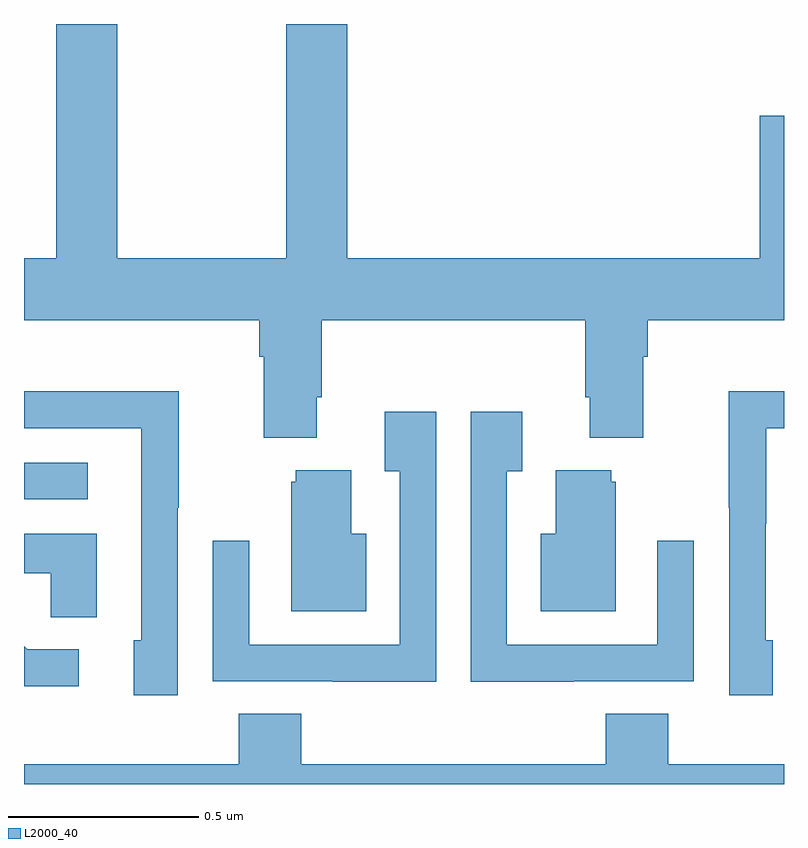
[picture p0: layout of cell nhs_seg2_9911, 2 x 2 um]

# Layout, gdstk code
import gdstk
lib = gdstk.Library(unit=1e-6, precision=1e-09)
def R(c, l, rs):  # rectangles x0, y0, x1, y1
    for r in rs: c.add(gdstk.rectangle(r[:2], r[2:], *l))
def P(c, l, *ps):  # polygons
    for p in ps: c.add(gdstk.Polygon(p, *l))
L2000_40 = (2000, 40)

nhs_seg2_9911 = lib.new_cell('nhs_seg2_9911')
R(nhs_seg2_9911, L2000_40, [(235,596.55,235.168,596.646)])
P(nhs_seg2_9911, L2000_40, [(235.771,596.818),(235.784,596.818),(235.784,597.02),(236.477,597.02),(236.477,596.818),(236.489,596.818),(236.489,596.711),(236.629,596.711),(236.629,596.924),(236.642,596.924),(236.642,597.02),(237,597.02),(237,597.559),(236.936,597.559),(236.936,597.184),(235.85,597.184),(235.85,597.8),(235.69,597.8),(235.69,597.184),(235.245,597.184),(235.245,597.8),(235.085,597.8),(235.085,597.184),(235,597.184),(235,597.02),(235.619,597.02),(235.619,596.924),(235.631,596.924),(235.631,596.711),(235.771,596.711)],
  [(236.971,596.178),(236.952,596.178),(236.952,596.485),(236.953,596.485),(236.953,596.736),(237,596.736),(237,596.834),(236.854,596.834),(236.854,596.527),(236.856,596.527),(236.856,596.034),(236.971,596.034)],
  [(235.404,596.527),(235.407,596.527),(235.407,596.834),(235,596.834),(235,596.736),(235.308,596.736),(235.308,596.178),(235.289,596.178),(235.289,596.034),(235.404,596.034)],
  [(236.447,596.07),(236.763,596.07),(236.763,596.44),(236.667,596.44),(236.667,596.166),(236.271,596.166),(236.271,596.623),(236.311,596.623),(236.311,596.779),(236.175,596.779),(236.175,596.069),(236.447,596.069)],
  [(236.085,596.779),(235.949,596.779),(235.949,596.623),(235.989,596.623),(235.989,596.166),(235.593,596.166),(235.593,596.44),(235.497,596.44),(235.497,596.07),(235.813,596.07),(235.813,596.069),(236.085,596.069)],
  [(236.557,596.595),(236.546,596.595),(236.546,596.626),(236.399,596.626),(236.399,596.458),(236.36,596.458),(236.36,596.255),(236.557,596.255)],
  [(235.9,596.458),(235.861,596.458),(235.861,596.626),(235.715,596.626),(235.715,596.595),(235.703,596.595),(235.703,596.255),(235.9,596.255)],
  [(235.192,596.458),(235,596.458),(235,596.354),(235.071,596.354),(235.071,596.239),(235.192,596.239)],
  [(235.144,596.154),(235.009,596.154),(235,596.163),(235,596.057),(235.144,596.057)],
  [(237,595.852),(236.696,595.852),(236.696,595.985),(236.531,595.985),(236.531,595.852),(235.73,595.852),(235.73,595.985),(235.565,595.985),(235.565,595.852),(235,595.852),(235,595.8),(237,595.8)])

lib.write_gds('nhs_seg2_9911.gds')
